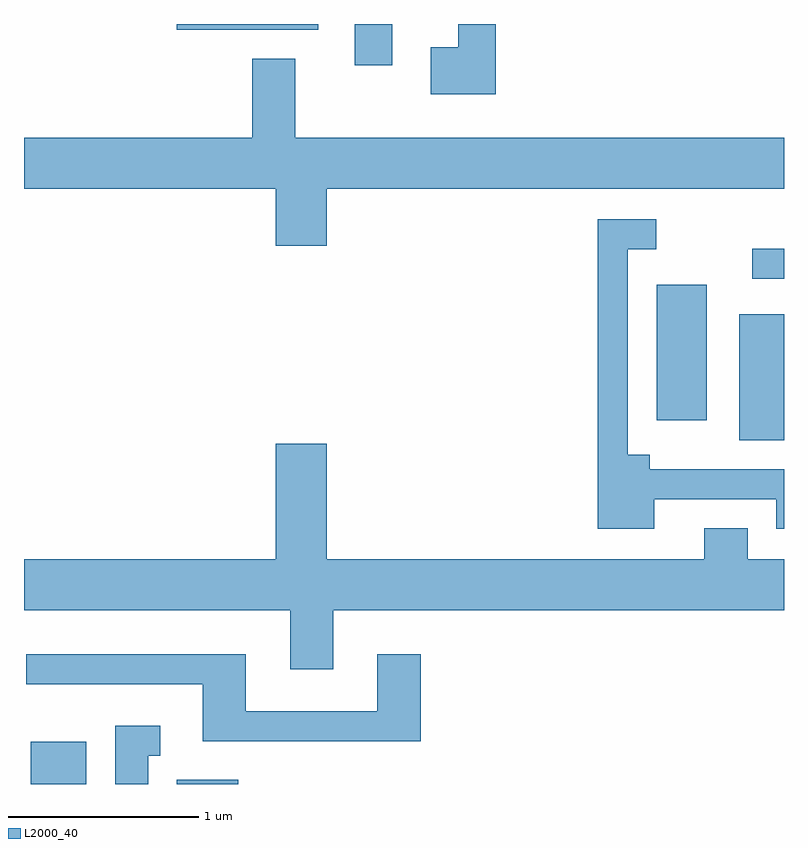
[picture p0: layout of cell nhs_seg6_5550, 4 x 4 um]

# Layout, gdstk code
import gdstk
lib = gdstk.Library(unit=1e-6, precision=1e-09)
def R(c, l, rs):  # rectangles x0, y0, x1, y1
    for r in rs: c.add(gdstk.rectangle(r[:2], r[2:], *l))
def P(c, l, *ps):  # polygons
    for p in ps: c.add(gdstk.Polygon(p, *l))
L2000_40 = (2000, 40)

nhs_seg6_5550 = lib.new_cell('nhs_seg6_5550')
R(nhs_seg6_5550, L2000_40, [(353.646,1620.162,353.939,1620.384), (354.416,1620.162,354.739,1620.184), (357.376,1621.971,357.611,1622.634), (356.941,1622.076,357.204,1622.789), (357.443,1622.821,357.611,1622.979), (355.351,1623.946,355.549,1624.162), (354.416,1624.131,355.159,1624.162)])
P(nhs_seg6_5550, L2000_40, [(356.094,1624.162),(355.896,1624.162),(355.896,1624.039),(355.751,1624.039),(355.751,1623.791),(356.094,1623.791)],
  [(355.204,1623.296),(357.611,1623.296),(357.611,1623.564),(355.039,1623.564),(355.039,1623.979),(354.811,1623.979),(354.811,1623.564),(353.611,1623.564),(353.611,1623.296),(354.936,1623.296),(354.936,1622.996),(355.204,1622.996)],
  [(356.929,1621.661),(357.571,1621.661),(357.571,1621.506),(357.611,1621.506),(357.611,1621.819),(356.904,1621.819),(356.904,1621.894),(356.789,1621.894),(356.789,1622.976),(356.938,1622.976),(356.938,1623.134),(356.631,1623.134),(356.631,1621.506),(356.929,1621.506)],
  [(355.239,1621.076),(357.611,1621.076),(357.611,1621.344),(357.419,1621.344),(357.419,1621.509),(357.191,1621.509),(357.191,1621.344),(355.204,1621.344),(355.204,1621.954),(354.936,1621.954),(354.936,1621.344),(353.611,1621.344),(353.611,1621.076),(355.011,1621.076),(355.011,1620.766),(355.239,1620.766)],
  [(355.699,1620.844),(355.471,1620.844),(355.471,1620.544),(354.779,1620.544),(354.779,1620.844),(353.623,1620.844),(353.623,1620.686),(354.551,1620.686),(354.551,1620.386),(355.699,1620.386)],
  [(354.264,1620.311),(354.328,1620.311),(354.328,1620.469),(354.091,1620.469),(354.091,1620.162),(354.264,1620.162)])

lib.write_gds('nhs_seg6_5550.gds')
